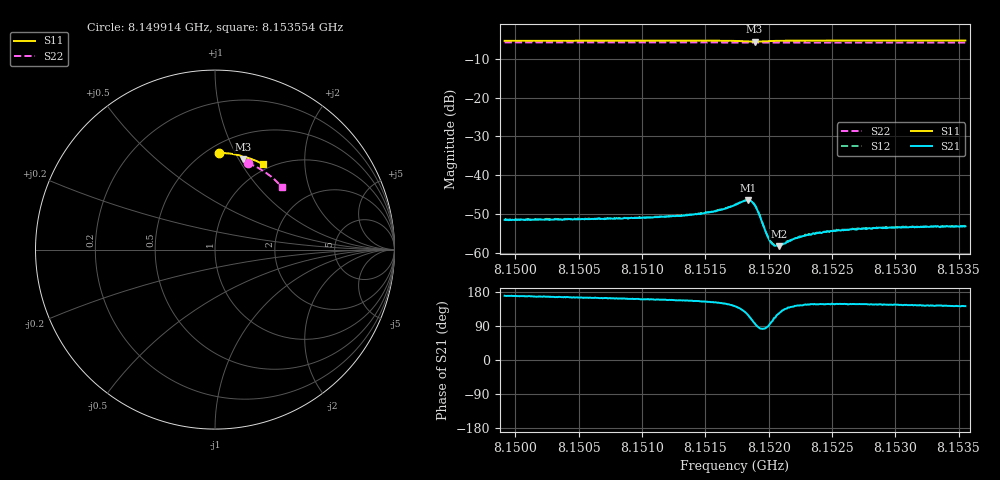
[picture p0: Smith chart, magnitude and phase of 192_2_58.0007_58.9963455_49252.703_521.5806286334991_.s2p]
#  HZ  S  RI  R  50.00
! Rohde & Schwarz Vector Network Analyzer
! Rohde-Schwarz,ZNB20-2Port,1311601062101988,3.16
! Created: UTC 3/21/2024, 12:58:53 AM
! freq[Hz]  re:S11  im:S11  re:S21  im:S21  re:S12  im:S12  re:S22  im:S22
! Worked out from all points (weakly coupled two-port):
!   401 points, 8.149914 GHz to 8.153554 GHz, reference 50 ohm
!   highest |S21| = -46.44 dB at 8.151834 GHz (marker M1); lowest = -58.3 dB at 8.15208 GHz (marker M2)
!   lowest |S11| = -5.6 dB at 8.151889 GHz (marker M3), VSWR 3.22, Z = 37.3 + j52 ohm
!   |S11| at or under -10 dB: nowhere
!   |S22| runs from -5.8 to -5.7 dB; largest |S21 - S12| = 0.00011
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8.1499141e9  0.0249 0.5396  -0.00261 0.000479  -0.00267 0.000517  0.1812 0.483
8.1505238e9  0.0677 0.5369  -0.00262 0.000706  -0.00264 0.000761  0.2172 0.467
8.1511336e9  0.1104 0.5306  -0.0027 0.000996  -0.00272 0.00106  0.2519 0.4485
8.1513156e9  0.1233 0.5279  -0.00276 0.00116  -0.00277 0.0012  0.2619 0.4424
8.1514976e9  0.1368 0.5245  -0.00293 0.00143  -0.00291 0.00146  0.2719 0.4359
8.151625e9  0.1466 0.5211  -0.0031 0.00176  -0.00313 0.00185  0.2787 0.4316
8.1517342e9  0.1555 0.5159  -0.00325 0.00255  -0.00323 0.00263  0.2845 0.4274
8.1517979e9  0.1594 0.5102  -0.00299 0.00348  -0.00295 0.00355  0.2879 0.425
8.1518343e9  0.1593 0.5059  -0.00236 0.00413  -0.00231 0.00421  0.2895 0.4236
8.1518616e9  0.1573 0.5032  -0.00145 0.00439  -0.0014 0.00442  0.2907 0.4225
8.1518889e9  0.1542 0.5032  -0.000488 0.00408  -0.00041 0.00416  0.2919 0.4215
8.1519162e9  0.1522 0.5055  0.000164 0.00337  0.000217 0.00343  0.2933 0.4206
8.1519799e9  0.1551 0.5119  0.000155 0.00179  0.000123 0.00181  0.2967 0.4186
8.1520072e9  0.1576 0.5134  -0.000101 0.00144  -9.43e-05 0.00146  0.298 0.4175
8.1520345e9  0.1604 0.514  -0.000333 0.00123  -0.000322 0.00124  0.2996 0.4166
8.1520618e9  0.1631 0.5144  -0.00058 0.0011  -0.00053 0.00109  0.3009 0.4155
8.15208e9  0.1648 0.5145  -0.000656 0.00102  -0.00066 0.00107  0.3021 0.4149
8.1522256e9  0.1771 0.5128  -0.00125 0.000914  -0.00124 0.000933  0.3094 0.4092
8.152344e9  0.186 0.5104  -0.00147 0.000937  -0.00144 0.000982  0.3156 0.4045
8.1525533e9  0.2008 0.5055  -0.00164 0.00104  -0.00166 0.00106  0.3257 0.3958
8.1529537e9  0.2271 0.4951  -0.00175 0.00118  -0.00174 0.0012  0.3447 0.3788
8.1535544e9  0.265 0.4771  -0.00172 0.00135  -0.00172 0.00139  0.3714 0.3513
